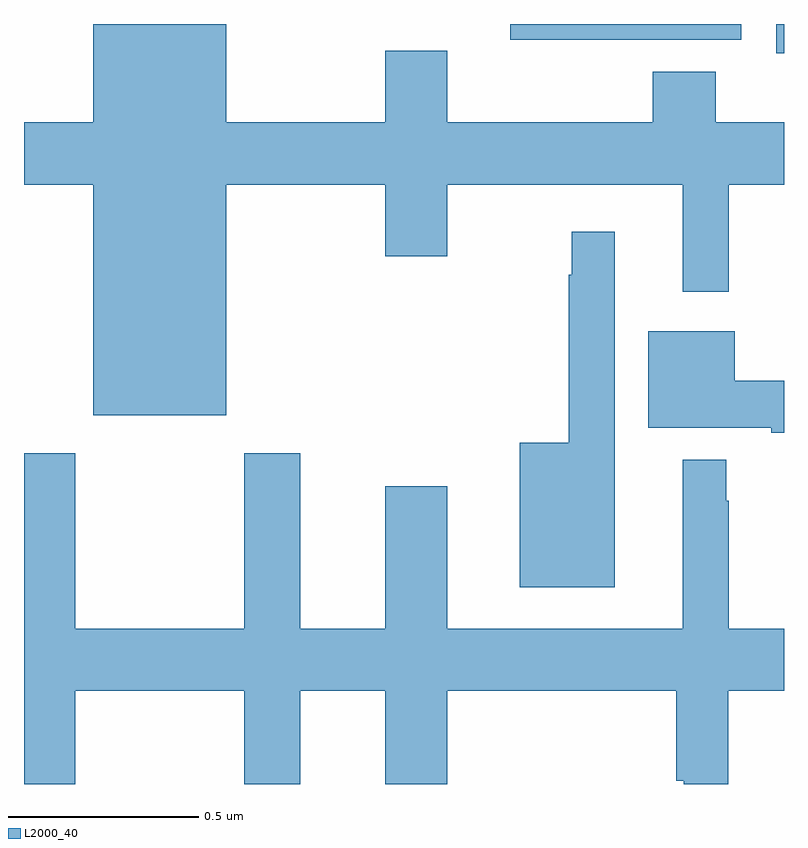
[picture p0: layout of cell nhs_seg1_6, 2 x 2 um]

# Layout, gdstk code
import gdstk
lib = gdstk.Library(unit=1e-6, precision=1e-09)
def R(c, l, rs):  # rectangles x0, y0, x1, y1
    for r in rs: c.add(gdstk.rectangle(r[:2], r[2:], *l))
def P(c, l, *ps):  # polygons
    for p in ps: c.add(gdstk.Polygon(p, *l))
L2000_40 = (2000, 40)

nhs_seg1_6 = lib.new_cell('nhs_seg1_6')
R(nhs_seg1_6, L2000_40, [(112.98,508.122,113,508.199)])
P(nhs_seg1_6, L2000_40, [(111.532,507.776),(111.95,507.776),(111.95,507.588),(112.114,507.588),(112.114,507.776),(112.733,507.776),(112.733,507.495),(112.855,507.495),(112.855,507.776),(113,507.776),(113,507.94),(112.82,507.94),(112.82,508.073),(112.655,508.073),(112.655,507.94),(112.114,507.94),(112.114,508.129),(111.95,508.129),(111.95,507.94),(111.532,507.94),(111.532,508.199),(111.182,508.199),(111.182,507.94),(111,507.94),(111,507.776),(111.182,507.776),(111.182,507.17),(111.532,507.17)],
  [(112.571,508.158),(112.887,508.158),(112.887,508.199),(112.279,508.199),(112.279,508.157),(112.571,508.157)],
  [(112.555,507.652),(112.441,507.652),(112.441,507.539),(112.434,507.539),(112.434,507.097),(112.304,507.097),(112.304,506.717),(112.555,506.717)],
  [(113,507.26),(112.87,507.26),(112.87,507.391),(112.643,507.391),(112.643,507.137),(112.966,507.137),(112.966,507.124),(113,507.124)],
  [(111.135,506.444),(111.58,506.444),(111.58,506.199),(111.727,506.199),(111.727,506.444),(111.95,506.444),(111.95,506.199),(112.114,506.199),(112.114,506.444),(112.717,506.444),(112.717,506.208),(112.736,506.208),(112.736,506.199),(112.853,506.199),(112.853,506.444),(113,506.444),(113,506.608),(112.855,506.608),(112.855,506.945),(112.848,506.945),(112.848,507.052),(112.733,507.052),(112.733,506.608),(112.114,506.608),(112.114,506.983),(111.95,506.983),(111.95,506.608),(111.727,506.608),(111.727,507.07),(111.58,507.07),(111.58,506.608),(111.135,506.608),(111.135,507.07),(111,507.07),(111,506.199),(111.135,506.199)])

lib.write_gds('nhs_seg1_6.gds')
